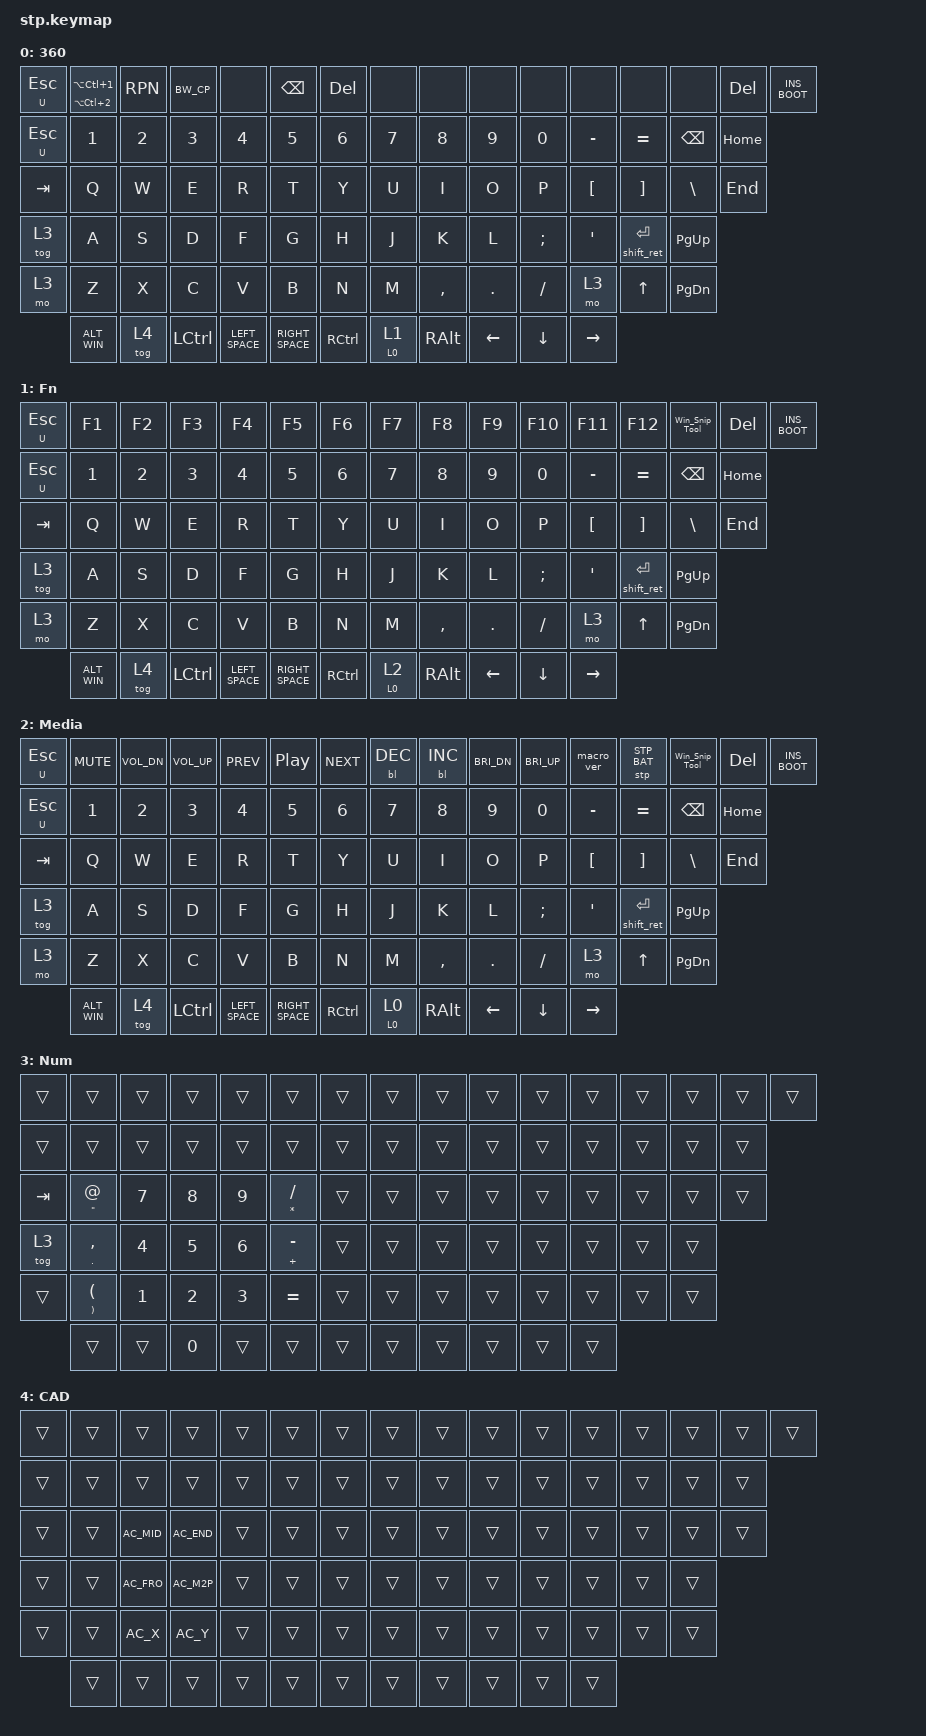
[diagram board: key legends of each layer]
#include <dt-bindings/zmk/reset.h>
#include <dt-bindings/zmk/stp.h>
#include <behaviors.dtsi>
#include <dt-bindings/zmk/backlight.h>
#include <dt-bindings/zmk/bt.h>
#include <dt-bindings/zmk/keys.h>
#include <dt-bindings/zmk/mouse.h>

#include "studio-macros.dtsi"

/ {
    behaviors {
        #include "version.dtsi"

        TH: TH {
            compatible = "zmk,behavior-hold-tap";
            label = "TH";
            #binding-cells = <2>;
            tapping-term-ms = <150>;
            flavor = "hold-preferred";
            bindings = <&kp>, <&kp>;
        };

        ESC_U: ESC_U {
            compatible = "zmk,behavior-hold-tap";
            label = "ESC_U";
            #binding-cells = <2>;
            tapping-term-ms = <200>;
            flavor = "tap-preferred";
            bindings = <&kp>, <&kp>;
        };

        SHIFT_ENTER: SHIFT_ENTER {
            compatible = "zmk,behavior-hold-tap";
            label = "SHIFT_ENTER";
            #binding-cells = <2>;
            tapping-term-ms = <160>;
            flavor = "tap-preferred";
            bindings = <&shift_ret>, <&kp>;
        };

        CAPS_WORD_SPACE: CAPS_WORD_SPACE {
            compatible = "zmk,behavior-hold-tap";
            label = "CAPS_WORD_SPACE";
            #binding-cells = <2>;
            tapping-term-ms = <150>;
            flavor = "hold-preferred";
            bindings = <&caps_word>, <&kp>;
        };

        SPACE_SHIFT: SPACE_SHIFT {
            compatible = "zmk,behavior-hold-tap";
            label = "SPACE_SHIFT";
            #binding-cells = <2>;
            tapping-term-ms = <150>;
            flavor = "hold-preferred";
            bindings = <&kp>, <&kp>;
        };

        ALT_WIN: ALT_WIN {
            compatible = "zmk,behavior-tap-dance";
            label = "ALT_WIN";
            #binding-cells = <0>;
            bindings = <&kp LALT>, <&kp LGUI>;
        };

        BOOT_INS: BOOT_INS {
            compatible = "zmk,behavior-hold-tap";
            label = "BOOT_INS";
            #binding-cells = <2>;
            tapping-term-ms = <200>;
            flavor = "tap-preferred";
            bindings = <&bootloader>, <&kp>;
        };

        INS_BOOT: INS_BOOT {
            compatible = "zmk,behavior-tap-dance";
            label = "INS_BOOT";
            #binding-cells = <0>;
            bindings = <&kp INS>, <&BOOT_INS 0 INS>;
        };

        LEFT_SPACE: LEFT_SPACE {
            compatible = "zmk,behavior-tap-dance";
            label = "LEFT_SPACE";
            #binding-cells = <0>;
            tapping-term-ms = <333>;
            bindings = <&TH LSHIFT SPACE>, <&CAPS_WORD_SPACE 0 SPACE>;
        };

        HOME_END: HOME_END {
            compatible = "zmk,behavior-hold-tap";
            label = "HOME_END";
            #binding-cells = <2>;
            tapping-term-ms = <150>;
            flavor = "hold-preferred";
            bindings = <&kp>, <&kp>;
        };

        RIGHT_SPACE: RIGHT_SPACE {
            compatible = "zmk,behavior-tap-dance";
            label = "RIGHT_SPACE";
            #binding-cells = <0>;
            tapping-term-ms = <333>;
            bindings = <&TH LSHIFT SPACE>, <&HOME_END END HOME>;
        };

        BW_CP: BW_CP {
            compatible = "zmk,behavior-tap-dance";
            label = "BW_CP";
            #binding-cells = <0>;
            bindings = <&TH LC(A) LC(C)>, <&TH LC(X) LC(V)>;
        };

        RPN: RPN {
            compatible = "zmk,behavior-tap-dance";
            label = "RPN";
            #binding-cells = <0>;
            bindings = <&TH LC(LA(N4)) LC(LA(N3))>, <&TH LC(LA(N6)) LC(LA(N5))>;
        };

        ROW_MODE: ROW_MODE {
            compatible = "zmk,behavior-hold-tap";
            label = "ROW_MODE";
            #binding-cells = <2>;
            tapping-term-ms = <200>;
            flavor = "hold-preferred";
            bindings = <&to>, <&to>;
        };
    };

    macros {
        shift_ret: shift_ret {
            compatible = "zmk,behavior-macro";
            #binding-cells = <0>;
            wait-ms = <0>;
            tap-ms = <30>;
            bindings = <&macro_press &kp LSHFT>, <&macro_tap &kp RET>, <&macro_release &kp LSHFT>;
            label = "SHIFT_RET";
        };

        AC_FRO: AC_FRO {
            compatible = "zmk,behavior-macro";
            #binding-cells = <0>;
            bindings = <&kp F &kp R &kp O &kp RET>;
            label = "AC_FRO";
        };

        AC_M2P: AC_M2P {
            compatible = "zmk,behavior-macro";
            #binding-cells = <0>;
            bindings = <&kp M &kp N2 &kp P &kp RET>;
            label = "AC_M2P";
        };

        AC_END: AC_END {
            compatible = "zmk,behavior-macro";
            #binding-cells = <0>;
            bindings = <&kp E &kp N &kp D &kp RET>;
            label = "AC_END";
        };

        AC_MID: AC_MID {
            compatible = "zmk,behavior-macro";
            #binding-cells = <0>;
            bindings = <&kp M &kp I &kp D &kp RET>;
            label = "AC_MID";
        };

        AC_X: AC_X {
            compatible = "zmk,behavior-macro";
            #binding-cells = <0>;
            bindings = <&kp DOT &kp X &kp RET>;
            label = "AC_X";
        };

        AC_Y: AC_Y {
            compatible = "zmk,behavior-macro";
            #binding-cells = <0>;
            bindings = <&kp DOT &kp Y &kp RET>;
            label = "AC_Y";
        };
    };

    combos {
        compatible = "zmk,combos";

        caps_lock_combo {
            timeout-ms = <500>;
            slow-release;
            key-positions = <77 78>;
            bindings = <&kp CLCK>;
            layers = <0 1 2>;
        };

        dual_esc_u_combo {
            timeout-ms = <500>;
            slow-release;
            key-positions = <0 16>;
            bindings = <&kp U>;
            layers = <0 1 2>;
        };
    };

    keymap {
        compatible = "zmk,keymap";

        macro_row {
            display-name = "360";

            bindings = <
&ESC_U U ESC  &TH LA(LC(N2)) LA(LC(N1))  &RPN   &BW_CP  &none      &kp BSPC  &kp DEL     &none  &none  &none  &none      &none      &none      &none      &kp DEL  &INS_BOOT
&ESC_U U ESC  &kp N1                     &kp N2  &kp N3   &kp N4      &kp N5     &kp N6      &kp N7  &kp N8  &kp N9  &kp N0     &kp MINUS  &kp EQUAL  &kp BACKSPACE  &kp HOME
&kp TAB    &kp Q                      &kp W   &kp E    &kp R       &kp T      &kp Y       &kp U   &kp I   &kp O   &kp P      &kp LBKT   &kp RBKT   &kp BSLH       &kp END
&tog 3     &kp A                      &kp S   &kp D    &kp F       &kp G      &kp H       &kp J   &kp K   &kp L   &kp SEMI   &kp SQT    &SHIFT_ENTER 0 RET  &kp PG_UP
&mo 3      &kp Z                      &kp X   &kp C    &kp V       &kp B      &kp N       &kp M   &kp COMMA  &kp DOT  &kp FSLH  &mo 3      &kp UP     &kp PG_DN
           &ALT_WIN                   &tog 4  &kp LCTRL  &LEFT_SPACE  &RIGHT_SPACE  &kp RCTRL  &ROW_MODE 0 1  &kp RALT  &kp LEFT  &kp DOWN  &kp RIGHT
            >;
        };

        function_row {
            display-name = "Fn";

            bindings = <
&ESC_U U ESC  &kp F1  &kp F2  &kp F3  &kp F4  &kp F5  &kp F6  &kp F7  &kp F8  &kp F9  &kp F10  &kp F11  &kp F12  &Win_Snip_Tool  &kp DEL  &INS_BOOT
&ESC_U U ESC  &kp N1  &kp N2  &kp N3  &kp N4  &kp N5  &kp N6  &kp N7  &kp N8  &kp N9  &kp N0   &kp MINUS  &kp EQUAL  &kp BACKSPACE  &kp HOME
&kp TAB    &kp Q   &kp W   &kp E   &kp R   &kp T   &kp Y   &kp U   &kp I   &kp O   &kp P    &kp LBKT   &kp RBKT   &kp BSLH       &kp END
&tog 3     &kp A   &kp S   &kp D   &kp F   &kp G   &kp H   &kp J   &kp K   &kp L   &kp SEMI  &kp SQT    &SHIFT_ENTER 0 RET  &kp PG_UP
&mo 3      &kp Z   &kp X   &kp C   &kp V   &kp B   &kp N   &kp M   &kp COMMA  &kp DOT  &kp FSLH  &mo 3   &kp UP  &kp PG_DN
           &ALT_WIN  &tog 4  &kp LCTRL  &LEFT_SPACE  &RIGHT_SPACE  &kp RCTRL  &ROW_MODE 0 2  &kp RALT  &kp LEFT  &kp DOWN  &kp RIGHT
            >;
        };

        media_row {
            display-name = "Media";

            bindings = <
&ESC_U U ESC  &kp C_MUTE  &kp C_VOL_DN  &kp C_VOL_UP  &kp C_PREV  &kp C_PP  &kp C_NEXT  &bl BL_DEC  &bl BL_INC  &kp C_BRI_DN  &kp C_BRI_UP  &macro_ver  &stp STP_BAT  &Win_Snip_Tool  &kp DEL  &INS_BOOT
&ESC_U U ESC  &kp N1      &kp N2        &kp N3        &kp N4      &kp N5    &kp N6      &kp N7      &kp N8      &kp N9        &kp N0        &kp MINUS   &kp EQUAL     &kp BACKSPACE  &kp HOME
&kp TAB    &kp Q       &kp W         &kp E         &kp R       &kp T     &kp Y       &kp U       &kp I       &kp O         &kp P         &kp LBKT    &kp RBKT      &kp BSLH       &kp END
&tog 3     &kp A       &kp S         &kp D         &kp F       &kp G     &kp H       &kp J       &kp K       &kp L         &kp SEMI      &kp SQT     &SHIFT_ENTER 0 RET  &kp PG_UP
&mo 3      &kp Z       &kp X         &kp C         &kp V       &kp B     &kp N       &kp M       &kp COMMA   &kp DOT       &kp FSLH      &mo 3      &kp UP        &kp PG_DN
           &ALT_WIN    &tog 4        &kp LCTRL     &LEFT_SPACE  &RIGHT_SPACE  &kp RCTRL  &ROW_MODE 0 0  &kp RALT  &kp LEFT  &kp DOWN  &kp RIGHT
            >;
        };

        keypad {
            display-name = "Num";

            bindings = <
&trans  &trans         &trans  &trans  &trans  &trans          &trans  &trans  &trans  &trans  &trans  &trans  &trans  &trans  &trans  &trans
&trans  &trans         &trans  &trans  &trans  &trans          &trans  &trans  &trans  &trans  &trans  &trans  &trans  &trans  &trans
&kp TAB &TH DQT AT     &kp N7  &kp N8  &kp N9  &TH STAR FSLH   &trans  &trans  &trans  &trans  &trans  &trans  &trans  &trans  &trans
&tog 3  &TH DOT COMMA  &kp N4  &kp N5  &kp N6  &TH PLUS MINUS  &trans  &trans  &trans  &trans  &trans  &trans  &trans  &trans
&trans  &TH RPAR LPAR  &kp N1  &kp N2  &kp N3  &kp EQUAL       &trans  &trans  &trans  &trans  &trans  &trans  &trans  &trans
        &trans         &trans  &kp N0  &trans  &trans          &trans  &trans  &trans  &trans  &trans  &trans
            >;
        };

        cad_layer {
            display-name = "CAD";

            bindings = <
&trans  &trans  &trans   &trans   &trans  &trans  &trans  &trans  &trans  &trans  &trans  &trans  &trans  &trans  &trans  &trans
&trans  &trans  &trans   &trans   &trans  &trans  &trans  &trans  &trans  &trans  &trans  &trans  &trans  &trans  &trans
&trans  &trans  &AC_MID  &AC_END  &trans  &trans  &trans  &trans  &trans  &trans  &trans  &trans  &trans  &trans  &trans
&trans  &trans  &AC_FRO  &AC_M2P  &trans  &trans  &trans  &trans  &trans  &trans  &trans  &trans  &trans  &trans
&trans  &trans  &AC_X    &AC_Y    &trans  &trans  &trans  &trans  &trans  &trans  &trans  &trans  &trans  &trans
        &trans  &trans   &trans   &trans  &trans  &trans  &trans  &trans  &trans  &trans  &trans
            >;
        };

        extra1 {
            display-name = "Blue";
            status = "reserved";
        };

        extra2 {
            display-name = "Green";
            status = "reserved";
        };

        extra3 {
            display-name = "Red";
            status = "reserved";
        };

        extra4 {
            display-name = "Purple";
            status = "reserved";
        };

        extra5 {
            display-name = "Cyan";
            status = "reserved";
        };

        extra6 {
            display-name = "Yellow";
            status = "reserved";
        };
    };
};
